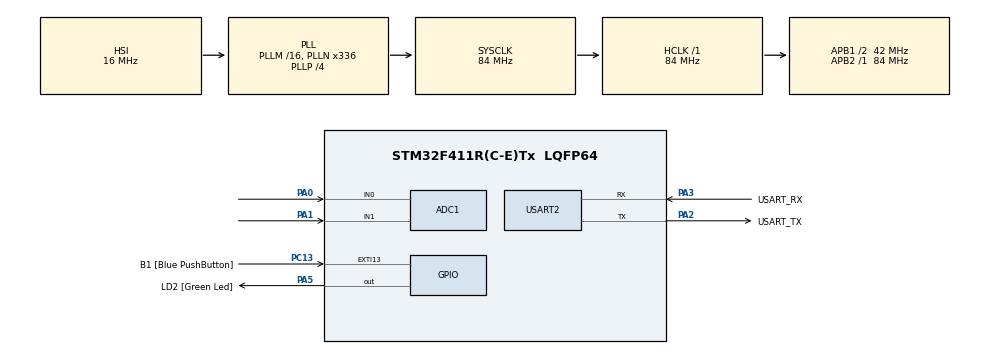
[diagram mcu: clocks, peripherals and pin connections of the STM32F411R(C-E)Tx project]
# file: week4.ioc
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ADC1.Channel-0\#ChannelRegularConversion=ADC_CHANNEL_0
ADC1.Channel-1\#ChannelRegularConversion=ADC_CHANNEL_1
ADC1.Channel-2\#ChannelRegularConversion=ADC_CHANNEL_TEMPSENSOR
ADC1.Channel-3\#ChannelRegularConversion=ADC_CHANNEL_VREFINT
ADC1.ContinuousConvMode=ENABLE
ADC1.DMAContinuousRequests=ENABLE
ADC1.NbrOfConversion=4
ADC1.NbrOfConversionFlag=1
ADC1.Rank-0\#ChannelRegularConversion=1
ADC1.Rank-1\#ChannelRegularConversion=2
ADC1.Rank-2\#ChannelRegularConversion=3
ADC1.Rank-3\#ChannelRegularConversion=4
ADC1.SamplingTime-0\#ChannelRegularConversion=ADC_SAMPLETIME_480CYCLES
ADC1.SamplingTime-1\#ChannelRegularConversion=ADC_SAMPLETIME_480CYCLES
ADC1.SamplingTime-2\#ChannelRegularConversion=ADC_SAMPLETIME_480CYCLES
ADC1.SamplingTime-3\#ChannelRegularConversion=ADC_SAMPLETIME_480CYCLES
ADC1.master=1
Dma.ADC1.0.Direction=DMA_PERIPH_TO_MEMORY
Dma.ADC1.0.FIFOMode=DMA_FIFOMODE_DISABLE
Dma.ADC1.0.Instance=DMA2_Stream0
Dma.ADC1.0.MemDataAlignment=DMA_MDATAALIGN_WORD
Dma.ADC1.0.MemInc=DMA_MINC_ENABLE
Dma.ADC1.0.Mode=DMA_CIRCULAR
Dma.ADC1.0.PeriphDataAlignment=DMA_PDATAALIGN_WORD
Dma.ADC1.0.PeriphInc=DMA_PINC_DISABLE
Dma.ADC1.0.Priority=DMA_PRIORITY_LOW
Dma.Request0=ADC1
Mcu.Family=STM32F4
Mcu.Name=STM32F411R(C-E)Tx
Mcu.Package=LQFP64
NVIC.ADC_IRQn=true\:0\:0\:false\:false\:true\:true\:true
NVIC.DMA2_Stream0_IRQn=true\:0\:0\:false\:false\:true\:false\:true
NVIC.EXTI15_10_IRQn=true\:0\:0\:false\:false\:true\:true\:true
NVIC.PriorityGroup=NVIC_PRIORITYGROUP_0
PA0-WKUP.Signal=ADCx_IN0
PA1.Signal=ADCx_IN1
PA13.GPIO_Label=TMS
PA13.Mode=Serial_Wire
PA13.Signal=SYS_JTMS-SWDIO
PA14.GPIO_Label=TCK
PA14.Mode=Serial_Wire
PA14.Signal=SYS_JTCK-SWCLK
PA2.GPIO_Label=USART_TX
PA2.Mode=Asynchronous
PA2.Signal=USART2_TX
PA3.GPIO_Label=USART_RX
PA3.Mode=Asynchronous
PA3.Signal=USART2_RX
PA5.GPIO_Label=LD2 [Green Led]
PA5.PinState=GPIO_PIN_SET
PA5.Signal=GPIO_Output
PB3.GPIO_Label=SWO
PB3.Signal=SYS_JTDO-SWO
PC13-ANTI_TAMP.GPIO_Label=B1 [Blue PushButton]
PC13-ANTI_TAMP.GPIO_ModeDefaultEXTI=GPIO_MODE_IT_RISING_FALLING
PC13-ANTI_TAMP.Signal=GPXTI13
PC14-OSC32_IN.Mode=LSE-External-Oscillator
PC14-OSC32_IN.Signal=RCC_OSC32_IN
PC15-OSC32_OUT.Mode=LSE-External-Oscillator
PC15-OSC32_OUT.Signal=RCC_OSC32_OUT
PH0\ -\ OSC_IN.Mode=HSE-External-Clock-Source
PH0\ -\ OSC_IN.Signal=RCC_OSC_IN
PH1\ -\ OSC_OUT.Mode=HSE-External-Clock-Source
PH1\ -\ OSC_OUT.Signal=RCC_OSC_OUT
ProjectManager.HeapSize=0x200
ProjectManager.StackSize=0x400
ProjectManager.TargetToolchain=STM32CubeIDE
RCC.48MHZClocksFreq_Value=84000000
RCC.AHBFreq_Value=84000000
RCC.APB1CLKDivider=RCC_HCLK_DIV2
RCC.APB1Freq_Value=42000000
RCC.APB1TimFreq_Value=84000000
RCC.APB2Freq_Value=84000000
RCC.APB2TimFreq_Value=84000000
RCC.CortexFreq_Value=84000000
RCC.FLatency-AdvancedSettings=FLASH_LATENCY_2
RCC.HCLKFreq_Value=84000000
RCC.HSE_VALUE=8000000
RCC.HSI_VALUE=16000000
RCC.PLLN=336
RCC.PLLP=RCC_PLLP_DIV4
RCC.SYSCLKFreq_VALUE=84000000
RCC.SYSCLKSource=RCC_SYSCLKSOURCE_PLLCLK
RCC.VCOOutputFreq_Value=336000000
SH.ADCx_IN0.0=ADC1_IN0,IN0
SH.ADCx_IN1.0=ADC1_IN1,IN1
USART2.VirtualMode=VM_ASYNC
VP_ADC1_TempSens_Input.Mode=IN-TempSens
VP_ADC1_Vref_Input.Mode=IN-Vrefint
board=NUCLEO-F411RE

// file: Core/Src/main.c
/* USER CODE BEGIN Header */
/**
  ******************************************************************************
  * @file           : main.c
  * @brief          : Main program body
  ******************************************************************************
  * @attention
  *
  * <h2><center>&copy; Copyright (c) 2021 STMicroelectronics.
  * All rights reserved.</center></h2>
  *
  * This software component is licensed by ST under BSD 3-Clause license,
  * the "License"; You may not use this file except in compliance with the
  * License. You may obtain a copy of the License at:
  *                        opensource.org/licenses/BSD-3-Clause
  *
  ******************************************************************************
  */
/* USER CODE END Header */
#include "main.h"

ADC_HandleTypeDef hadc1;
DMA_HandleTypeDef hdma_adc1;

UART_HandleTypeDef huart2;

/* USER CODE BEGIN PV */
	uint32_t ADCData[4]={0};
	uint32_t test = 0;
	uint32_t TIME = 0;
	uint32_t timeset[2] = {0};
	uint32_t Speed = 0;
/* USER CODE END PV */

void SystemClock_Config(void);
static void MX_GPIO_Init(void);
static void MX_DMA_Init(void);
static void MX_USART2_UART_Init(void);
static void MX_ADC1_Init(void);

int main(void)
{

  /* MCU Configuration--------------------------------------------------------*/

  /* Reset of all peripherals, Initializes the Flash interface and the Systick. */
  HAL_Init();

  /* Configure the system clock */
  SystemClock_Config();

  /* Initialize all configured peripherals */
  MX_GPIO_Init();
  MX_DMA_Init();
  MX_USART2_UART_Init();
  MX_ADC1_Init();
  /* USER CODE BEGIN 2 */
  HAL_ADC_Start_DMA(&hadc1, ADCData, 4);
  /* USER CODE END 2 */

  /* Infinite loop */
  while (1)
  {

	  if(HAL_GetTick()-timeset[0]>=TIME && HAL_GPIO_ReadPin(GPIOA, GPIO_PIN_5) == 0){
		  timeset[1] = HAL_GetTick();
		  HAL_GPIO_WritePin(GPIOA, GPIO_PIN_5, 1);
	  }
  }
}

void SystemClock_Config(void)
{
  RCC_OscInitTypeDef RCC_OscInitStruct = {0};
  RCC_ClkInitTypeDef RCC_ClkInitStruct = {0};

  /** Configure the main internal regulator output voltage
  */
  __HAL_RCC_PWR_CLK_ENABLE();
  __HAL_PWR_VOLTAGESCALING_CONFIG(PWR_REGULATOR_VOLTAGE_SCALE1);
  /** Initializes the RCC Oscillators according to the specified parameters
  * in the RCC_OscInitTypeDef structure.
  */
  RCC_OscInitStruct.OscillatorType = RCC_OSCILLATORTYPE_HSI;
  RCC_OscInitStruct.HSIState = RCC_HSI_ON;
  RCC_OscInitStruct.HSICalibrationValue = RCC_HSICALIBRATION_DEFAULT;
  RCC_OscInitStruct.PLL.PLLState = RCC_PLL_ON;
  RCC_OscInitStruct.PLL.PLLSource = RCC_PLLSOURCE_HSI;
  RCC_OscInitStruct.PLL.PLLM = 16;
  RCC_OscInitStruct.PLL.PLLN = 336;
  RCC_OscInitStruct.PLL.PLLP = RCC_PLLP_DIV4;
  RCC_OscInitStruct.PLL.PLLQ = 4;
  if (HAL_RCC_OscConfig(&RCC_OscInitStruct) != HAL_OK)
  {
    Error_Handler();
  }
  /** Initializes the CPU, AHB and APB buses clocks
  */
  RCC_ClkInitStruct.ClockType = RCC_CLOCKTYPE_HCLK|RCC_CLOCKTYPE_SYSCLK
                              |RCC_CLOCKTYPE_PCLK1|RCC_CLOCKTYPE_PCLK2;
  RCC_ClkInitStruct.SYSCLKSource = RCC_SYSCLKSOURCE_PLLCLK;
  RCC_ClkInitStruct.AHBCLKDivider = RCC_SYSCLK_DIV1;
  RCC_ClkInitStruct.APB1CLKDivider = RCC_HCLK_DIV2;
  RCC_ClkInitStruct.APB2CLKDivider = RCC_HCLK_DIV1;

  if (HAL_RCC_ClockConfig(&RCC_ClkInitStruct, FLASH_LATENCY_2) != HAL_OK)
  {
    Error_Handler();
  }
}

static void MX_ADC1_Init(void)
{

  ADC_ChannelConfTypeDef sConfig = {0};

  /** Configure the global features of the ADC (Clock, Resolution, Data Alignment and number of conversion)
  */
  hadc1.Instance = ADC1;
  hadc1.Init.ClockPrescaler = ADC_CLOCK_SYNC_PCLK_DIV4;
  hadc1.Init.Resolution = ADC_RESOLUTION_12B;
  hadc1.Init.ScanConvMode = ENABLE;
  hadc1.Init.ContinuousConvMode = ENABLE;
  hadc1.Init.DiscontinuousConvMode = DISABLE;
  hadc1.Init.ExternalTrigConvEdge = ADC_EXTERNALTRIGCONVEDGE_NONE;
  hadc1.Init.ExternalTrigConv = ADC_SOFTWARE_START;
  hadc1.Init.DataAlign = ADC_DATAALIGN_RIGHT;
  hadc1.Init.NbrOfConversion = 4;
  hadc1.Init.DMAContinuousRequests = ENABLE;
  hadc1.Init.EOCSelection = ADC_EOC_SINGLE_CONV;
  if (HAL_ADC_Init(&hadc1) != HAL_OK)
  {
    Error_Handler();
  }
  /** Configure for the selected ADC regular channel its corresponding rank in the sequencer and its sample time.
  */
  sConfig.Channel = ADC_CHANNEL_0;
  sConfig.Rank = 1;
  sConfig.SamplingTime = ADC_SAMPLETIME_480CYCLES;
  if (HAL_ADC_ConfigChannel(&hadc1, &sConfig) != HAL_OK)
  {
    Error_Handler();
  }
  /** Configure for the selected ADC regular channel its corresponding rank in the sequencer and its sample time.
  */
  sConfig.Channel = ADC_CHANNEL_1;
  sConfig.Rank = 2;
  if (HAL_ADC_ConfigChannel(&hadc1, &sConfig) != HAL_OK)
  {
    Error_Handler();
  }
  /** Configure for the selected ADC regular channel its corresponding rank in the sequencer and its sample time.
  */
  sConfig.Channel = ADC_CHANNEL_TEMPSENSOR;
  sConfig.Rank = 3;
  if (HAL_ADC_ConfigChannel(&hadc1, &sConfig) != HAL_OK)
  {
    Error_Handler();
  }
  /** Configure for the selected ADC regular channel its corresponding rank in the sequencer and its sample time.
  */
  sConfig.Channel = ADC_CHANNEL_VREFINT;
  sConfig.Rank = 4;
  if (HAL_ADC_ConfigChannel(&hadc1, &sConfig) != HAL_OK)
  {
    Error_Handler();
  }

}

static void MX_USART2_UART_Init(void)
{

  huart2.Instance = USART2;
  huart2.Init.BaudRate = 115200;
  huart2.Init.WordLength = UART_WORDLENGTH_8B;
  huart2.Init.StopBits = UART_STOPBITS_1;
  huart2.Init.Parity = UART_PARITY_NONE;
  huart2.Init.Mode = UART_MODE_TX_RX;
  huart2.Init.HwFlowCtl = UART_HWCONTROL_NONE;
  huart2.Init.OverSampling = UART_OVERSAMPLING_16;
  if (HAL_UART_Init(&huart2) != HAL_OK)
  {
    Error_Handler();
  }

}

static void MX_DMA_Init(void)
{

  /* DMA controller clock enable */
  __HAL_RCC_DMA2_CLK_ENABLE();

  /* DMA interrupt init */
  /* DMA2_Stream0_IRQn interrupt configuration */
  HAL_NVIC_SetPriority(DMA2_Stream0_IRQn, 0, 0);
  HAL_NVIC_EnableIRQ(DMA2_Stream0_IRQn);

}

static void MX_GPIO_Init(void)
{
  GPIO_InitTypeDef GPIO_InitStruct = {0};

  /* GPIO Ports Clock Enable */
  __HAL_RCC_GPIOC_CLK_ENABLE();
  __HAL_RCC_GPIOH_CLK_ENABLE();
  __HAL_RCC_GPIOA_CLK_ENABLE();
  __HAL_RCC_GPIOB_CLK_ENABLE();

  /*Configure GPIO pin Output Level */
  HAL_GPIO_WritePin(LD2_GPIO_Port, LD2_Pin, GPIO_PIN_SET);

  /*Configure GPIO pin : B1_Pin */
  GPIO_InitStruct.Pin = B1_Pin;
  GPIO_InitStruct.Mode = GPIO_MODE_IT_RISING_FALLING;
  GPIO_InitStruct.Pull = GPIO_NOPULL;
  HAL_GPIO_Init(B1_GPIO_Port, &GPIO_InitStruct);

  /*Configure GPIO pin : LD2_Pin */
  GPIO_InitStruct.Pin = LD2_Pin;
  GPIO_InitStruct.Mode = GPIO_MODE_OUTPUT_PP;
  GPIO_InitStruct.Pull = GPIO_NOPULL;
  GPIO_InitStruct.Speed = GPIO_SPEED_FREQ_LOW;
  HAL_GPIO_Init(LD2_GPIO_Port, &GPIO_InitStruct);

  /* EXTI interrupt init*/
  HAL_NVIC_SetPriority(EXTI15_10_IRQn, 0, 0);
  HAL_NVIC_EnableIRQ(EXTI15_10_IRQn);

}

/* USER CODE BEGIN 4 */
void HAL_GPIO_EXTI_Callback(uint16_t GPIO_Pin)
{
	if (GPIO_Pin == GPIO_PIN_13 && HAL_GPIO_ReadPin(GPIOC, GPIO_PIN_13) == 0){ //down
		TIME = 1000+(((2269547*ADCData[0])+ADCData[1])%10000);
		HAL_GPIO_WritePin(GPIOA, GPIO_PIN_5, 0);
		timeset[0] = HAL_GetTick();
	}else if(GPIO_Pin == GPIO_PIN_13 && HAL_GPIO_ReadPin(GPIOC, GPIO_PIN_13) == 1 && HAL_GPIO_ReadPin(GPIOA, GPIO_PIN_5) == 1){ //up
		Speed = HAL_GetTick()-timeset[1];
	}else if(GPIO_Pin == GPIO_PIN_13 && HAL_GPIO_ReadPin(GPIOC, GPIO_PIN_13) == 1 && HAL_GPIO_ReadPin(GPIOA, GPIO_PIN_5) == 0){ //up
		Speed = 0;
		HAL_GPIO_WritePin(GPIOA, GPIO_PIN_5, 1);
	}
}

/* USER CODE END 4 */

void Error_Handler(void)
{
  __disable_irq();
  while (1)
  {
  }
}

/************************ (C) COPYRIGHT STMicroelectronics *****END OF FILE****/
